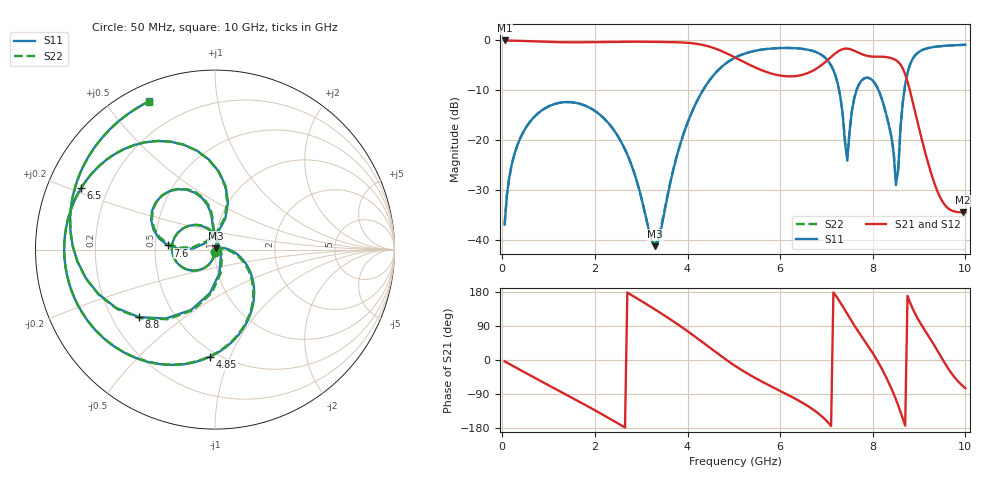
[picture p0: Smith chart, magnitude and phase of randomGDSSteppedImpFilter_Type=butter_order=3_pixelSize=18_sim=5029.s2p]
! freq	dB(S11)	phase(S11)	dB(S12)	phase(S12)
!  dB(S21)	phase(S21)	dB(S22)	phase(S22)
!S-par simulation data
#  GHz  S  DB  R 50
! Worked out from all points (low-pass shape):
!   200 points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, 50 MHz to 10 GHz, reference 50 ohm
!   highest |S21| = -0.01 dB at 50 MHz (marker M1); lowest = -34.5 dB at 9.95 GHz (marker M2)
!   |S21| within 3 dB of the highest: start of sweep to 4.936 GHz; 7.14 GHz to 7.842 GHz (701.9 MHz wide, 9.37 % of centre)
!   lowest |S11| = -41.3 dB at 3.3 GHz (marker M3), VSWR 1.02, Z = 50.5 + j0.705 ohm
!   |S11| at or under -10 dB: start of sweep to 4.335 GHz; 7.272 GHz to 7.649 GHz (377 MHz wide, 5.05 % of centre); 8.124 GHz to 8.683 GHz (558.7 MHz wide, 6.65 % of centre)
!   |S22| runs from -40.8 to -0.9 dB; largest |S21 - S12| = 0
!   S11 on the Smith chart (normalised r, x): 50 MHz: 1.00, -0.03; 4.85 GHz: 0.46, -0.85; 6.5 GHz: 0.10, +0.22; 7.6 GHz: 0.58, +0.03; 8.8 GHz: 0.31, -0.35; 10 GHz: 0.07, +0.65
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0.05  -37.00 -92.9  -0.01 -3.5  -0.01 -3.5  -37.00 -92.9
0.2  -25.12 -103.5  -0.04 -13.6  -0.04 -13.6  -25.12 -103.5
0.55  -16.96 -127.5  -0.14 -37.1  -0.14 -37.1  -16.95 -127.5
1.75  -12.96 154.3  -0.37 -115.7  -0.37 -115.7  -12.96 153.8
2.55  -20.10 100.7  -0.26 -171.1  -0.26 -171.1  -20.10 98.7
3.3  -41.34 54.6  -0.29 133.2  -0.29 133.2  -40.81 21.6
3.4  -39.23 40.3  -0.30 125.4  -0.30 125.4  -38.57 13.8
4.05  -15.39 -20.8  -0.52 71.6  -0.52 71.6  -15.36 -23.1
4.85  -4.47 -92.6  -2.62 -0.8  -2.62 -0.8  -4.46 -93.2
5.05  -3.35 -109.1  -3.54 -17.3  -3.54 -17.3  -3.35 -109.6
6.5  -1.72 155.2  -6.86 -114.1  -6.86 -114.1  -1.72 155.1
6.7  -2.10 140.5  -6.12 -129.7  -6.12 -129.7  -2.10 140.4
7.2  -7.24 87.1  -2.55 170.0  -2.55 170.0  -7.22 87.4
7.45  -24.17 142.0  -1.65 121.5  -1.65 121.5  -23.38 139.7
7.6  -11.62 174.9  -2.07 91.5  -2.07 91.5  -11.60 173.1
8.05  -8.66 115.4  -3.27 8.3  -3.27 8.3  -8.69 114.2
8.35  -17.12 95.5  -3.44 -61.2  -3.44 -61.2  -17.13 94.2
8.5  -29.08 57.0  -3.96 -104.0  -3.96 -104.0  -27.98 54.4
8.8  -4.94 -138.3  -9.99 153.3  -9.99 153.3  -4.98 -137.3
9.15  -1.65 167.4  -23.13 73.3  -23.13 73.3  -1.66 167.8
9.95  -0.89 116.4  -34.55 -69.3  -34.55 -69.3  -0.89 116.5
10  -0.88 114.0  -34.55 -74.6  -34.55 -74.6  -0.88 114.1
